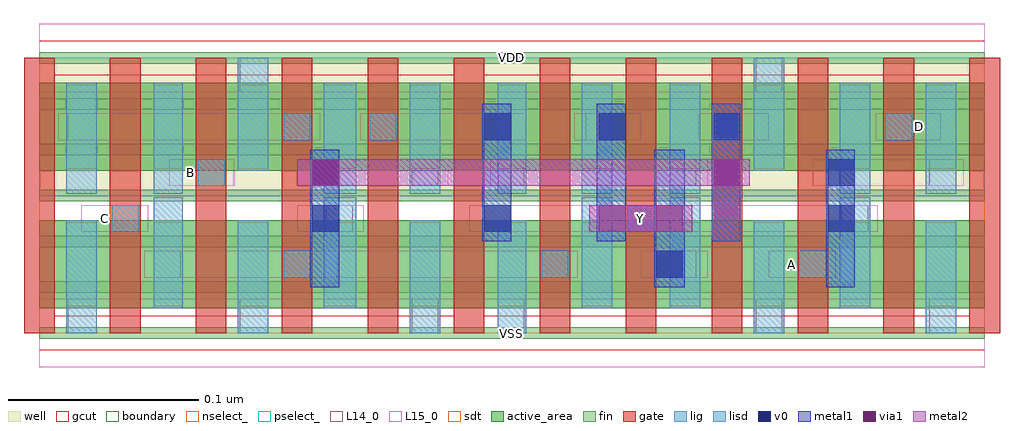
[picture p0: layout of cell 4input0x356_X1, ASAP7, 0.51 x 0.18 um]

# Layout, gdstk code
import gdstk
lib = gdstk.Library(unit=1e-6, precision=1e-09)
def R(c, l, rs):  # rectangles x0, y0, x1, y1
    for r in rs: c.add(gdstk.rectangle(r[:2], r[2:], *l))
def A(c, l, x, y, w, h, nx, ny, dx, dy):  # array of equal rectangles
    R(c, l, [(x+i*dx, y+j*dy, x+i*dx+w, y+j*dy+h) for i in range(nx) for j in range(ny)])
def P(c, l, *ps):  # polygons
    for p in ps: c.add(gdstk.Polygon(p, *l))
well = (1, 0)
fin = (2, 0)
gate = (7, 0)
gcut = (10, 0)
active_area = (11, 0)
nselect_ = (12, 0)
pselect_ = (13, 0)
L14_0 = (14, 0)
L15_0 = (15, 0)
lig = (16, 0)
lisd = (17, 0)
v0 = (18, 0)
metal1 = (19, 0)
metal2 = (20, 0)
via1 = (21, 0)
sdt = (88, 0)
boundary = (100, 0)

c_4input0x356_x1 = lib.new_cell('4input0x356_X1')
R(c_4input0x356_x1, well, [(0,0.072,0.495,0.144)])
A(c_4input0x356_x1, fin, 0, -0.003, 0.495, 0.006, 1, 7, 0, 0.024)
A(c_4input0x356_x1, gate, -0.008, 0, 0.016, 0.144, 12, 1, 0.045, 0)
P(c_4input0x356_x1, gcut, [(0,-0.009),(0,0),(-0.008,0),(-0.008,0.135),(0.008,0.135),(0.008,0.009),(0.217,0.009),(0.217,0.135),(0.233,0.135),(0.233,0.009),(0.487,0.009),(0.487,0.135),(-0.008,0.135),(-0.008,0.144),(0,0.144),(0,0.153),(0.495,0.153),(0.495,0.144),(0.503,0.144),(0.503,0),(0.495,0),(0.495,-0.009)])
R(c_4input0x356_x1, active_area, [(0,0.013,0.495,0.059), (0,0.085,0.495,0.131)])
R(c_4input0x356_x1, nselect_, [(0,0,0.495,0.072)])
R(c_4input0x356_x1, pselect_, [(0,0.072,0.495,0.144)])
R(c_4input0x356_x1, L14_0, [(0.015,0,0.03,0.018), (0.105,0,0.12,0.018), (0.195,0,0.209,0.018), (0.24,0,0.254,0.018), (0.375,0,0.389,0.018), (0.466,0,0.48,0.018), (0.06,0.029,0.074,0.043), (0.128,0.029,0.142,0.043), (0.263,0.029,0.277,0.043), (0.33,0.029,0.344,0.043), (0.398,0.029,0.412,0.043), (0.038,0.053,0.052,0.067), (0.15,0.053,0.164,0.067), (0.308,0.053,0.322,0.067), (0.42,0.053,0.434,0.067), (0.083,0.077,0.097,0.091), (0.195,0.077,0.209,0.091), (0.24,0.077,0.254,0.091), (0.33,0.077,0.344,0.091), (0.466,0.077,0.48,0.091), (0.015,0.101,0.03,0.115), (0.128,0.101,0.142,0.115), (0.173,0.101,0.187,0.115), (0.286,0.101,0.299,0.115), (0.353,0.101,0.367,0.115), (0.443,0.101,0.457,0.115), (0.105,0.126,0.12,0.144), (0.375,0.126,0.389,0.144)])
R(c_4input0x356_x1, L15_0, [(0,-0.018,0.495,0.018), (0.055,0.029,0.282,0.043), (0.315,0.029,0.35,0.043), (0.382,0.029,0.417,0.043), (0.022,0.053,0.057,0.067), (0.135,0.053,0.17,0.067), (0.225,0.053,0.439,0.067), (0.068,0.077,0.102,0.091), (0.135,0.077,0.214,0.091), (0.236,0.077,0.35,0.091), (0.405,0.077,0.484,0.091), (0.01,0.101,0.147,0.115), (0.168,0.101,0.255,0.115), (0.28,0.101,0.315,0.115), (0.345,0.101,0.382,0.115), (0.438,0.101,0.472,0.115), (0,0.126,0.495,0.162)])
A(c_4input0x356_x1, lig, 0.128, 0.029, 0.014, 0.014, 3, 1, 0.135, 0)
R(c_4input0x356_x1, lig, [(0.038,0.053,0.052,0.067), (0.308,0.053,0.322,0.067), (0.083,0.077,0.097,0.091), (0.128,0.101,0.142,0.115), (0.173,0.101,0.187,0.115), (0.353,0.101,0.367,0.115), (0.443,0.101,0.457,0.115)])
A(c_4input0x356_x1, lisd, 0.014, 0, 0.016, 0.059, 3, 1, 0.09, 0)
R(c_4input0x356_x1, lisd, [(0.24,0,0.255,0.059), (0.374,0,0.39,0.059), (0.464,0,0.48,0.059), (0.06,0.013,0.075,0.071), (0.149,0.013,0.166,0.071), (0.284,0.013,0.3,0.071), (0.33,0.013,0.346,0.071), (0.419,0.013,0.435,0.071), (0.014,0.073,0.03,0.131), (0.06,0.073,0.075,0.131), (0.149,0.073,0.166,0.131), (0.194,0.073,0.21,0.131), (0.24,0.073,0.255,0.131), (0.284,0.073,0.3,0.131), (0.33,0.073,0.346,0.131), (0.419,0.073,0.435,0.131), (0.464,0.073,0.48,0.131), (0.104,0.085,0.12,0.144), (0.374,0.085,0.39,0.144)])
A(c_4input0x356_x1, v0, 0.233, 0.101, 0.014, 0.014, 3, 1, 0.06, 0)
R(c_4input0x356_x1, v0, [(0.323,0.029,0.337,0.043), (0.143,0.053,0.157,0.067), (0.233,0.053,0.247,0.067), (0.413,0.053,0.427,0.067), (0.143,0.077,0.157,0.091), (0.413,0.077,0.427,0.091)])
A(c_4input0x356_x1, metal1, 0.232, 0.048, 0.015, 0.072, 3, 1, 0.06, 0)
R(c_4input0x356_x1, metal1, [(0.142,0.024,0.157,0.096), (0.322,0.024,0.338,0.096), (0.412,0.024,0.427,0.096)])
R(c_4input0x356_x1, metal2, [(0.288,0.053,0.342,0.067), (0.135,0.077,0.372,0.091)])
R(c_4input0x356_x1, via1, [(0.293,0.053,0.307,0.067), (0.323,0.053,0.337,0.067), (0.143,0.077,0.157,0.091), (0.353,0.077,0.367,0.091)])
A(c_4input0x356_x1, sdt, 0.014, 0.014, 0.016, 0.044, 4, 2, 0.09, 0.072)
A(c_4input0x356_x1, sdt, 0.374, 0.014, 0.016, 0.044, 3, 2, 0.045, 0.072)
R(c_4input0x356_x1, sdt, [(0.06,0.014,0.075,0.058), (0.149,0.014,0.166,0.058), (0.24,0.014,0.255,0.058), (0.33,0.014,0.346,0.058), (0.06,0.086,0.075,0.13), (0.149,0.086,0.166,0.13), (0.24,0.086,0.255,0.13), (0.33,0.086,0.346,0.13)])
R(c_4input0x356_x1, boundary, [(0,0,0.495,0.144)])
c_4input0x356_x1.add(gdstk.Label('VSS', (0.247,0), layer=15, texttype=251))
c_4input0x356_x1.add(gdstk.Label('VDD', (0.247,0.144), layer=15, texttype=251))
c_4input0x356_x1.add(gdstk.Label('B', (0.079,0.084), layer=15, texttype=251))
c_4input0x356_x1.add(gdstk.Label('VSS', (0.247,0), layer=15, texttype=251))
c_4input0x356_x1.add(gdstk.Label('VDD', (0.247,0.144), layer=15, texttype=251))
c_4input0x356_x1.add(gdstk.Label('C', (0.034,0.06), layer=15, texttype=251))
c_4input0x356_x1.add(gdstk.Label('VSS', (0.247,0), layer=15, texttype=251))
c_4input0x356_x1.add(gdstk.Label('VDD', (0.247,0.144), layer=15, texttype=251))
c_4input0x356_x1.add(gdstk.Label('A', (0.394,0.036), layer=15, texttype=251))
c_4input0x356_x1.add(gdstk.Label('VSS', (0.247,0), layer=15, texttype=251))
c_4input0x356_x1.add(gdstk.Label('VDD', (0.247,0.144), layer=15, texttype=251))
c_4input0x356_x1.add(gdstk.Label('D', (0.461,0.108), layer=15, texttype=251))
c_4input0x356_x1.add(gdstk.Label('VSS', (0.247,0), layer=15, texttype=251))
c_4input0x356_x1.add(gdstk.Label('VDD', (0.247,0.144), layer=15, texttype=251))
c_4input0x356_x1.add(gdstk.Label('Y', (0.315,0.06), layer=20, texttype=251))
c_4input0x356_x1.add(gdstk.Label('VSS', (0.247,0), layer=3, texttype=251))
c_4input0x356_x1.add(gdstk.Label('VSS', (0.247,0), layer=3, texttype=251))
c_4input0x356_x1.add(gdstk.Label('VSS', (0.247,0), layer=3, texttype=251))
c_4input0x356_x1.add(gdstk.Label('VSS', (0.247,0), layer=3, texttype=251))
c_4input0x356_x1.add(gdstk.Label('VSS', (0.247,0), layer=3, texttype=251))
c_4input0x356_x1.add(gdstk.Label('VDD', (0.247,0.144), layer=1, texttype=251))
c_4input0x356_x1.add(gdstk.Label('VDD', (0.247,0.144), layer=1, texttype=251))
c_4input0x356_x1.add(gdstk.Label('VDD', (0.247,0.144), layer=1, texttype=251))
c_4input0x356_x1.add(gdstk.Label('VDD', (0.247,0.144), layer=1, texttype=251))
c_4input0x356_x1.add(gdstk.Label('VDD', (0.247,0.144), layer=1, texttype=251))

lib.write_gds('4input0x356_X1.gds')
